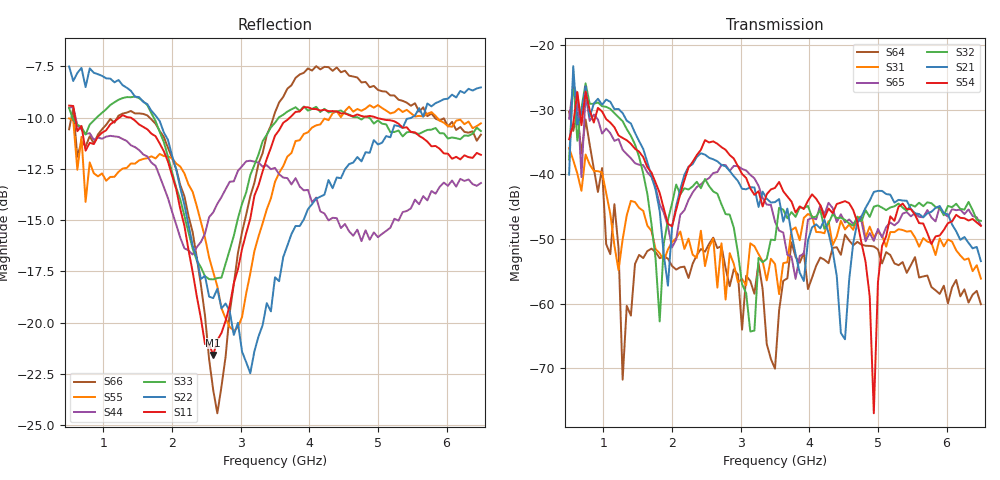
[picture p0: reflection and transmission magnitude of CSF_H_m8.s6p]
!Keysight Technologies,M9804A,MY58100912,A.14.10.03
!Date: Thursday, April 27, 2023 10:28:33
!Correction: S11(C  6-Port  )
!S12(C  6-Port  )
!S13(C  6-Port  )
!S14(C  6-Port  )
!S15(C  6-Port  )
!S16(C  6-Port  )
!S21(C  6-Port  )
!S22(C  6-Port  )
!S23(C  6-Port  )
!S24(C  6-Port  )
!S25(C  6-Port  )
!S26(C  6-Port  )
!S31(C  6-Port  )
!S32(C  6-Port  )
!S33(C  6-Port  )
!S34(C  6-Port  )
!S35(C  6-Port  )
!S36(C  6-Port  )
!S41(C  6-Port  )
!S42(C  6-Port  )
!S43(C  6-Port  )
!S44(C  6-Port  )
!S45(C  6-Port  )
!S46(C  6-Port  )
!S51(C  6-Port  )
!S52(C  6-Port  )
!S53(C  6-Port  )
!S54(C  6-Port  )
!S55(C  6-Port  )
!S56(C  6-Port  )
!S61(C  6-Port  )
!S62(C  6-Port  )
!S63(C  6-Port  )
!S64(C  6-Port  )
!S65(C  6-Port  )
!S66(C  6-Port  )
!S6P File: Measurement: :
# Hz S  RI  R 50
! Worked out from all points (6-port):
!   101 points, 500 MHz to 6.5 GHz, reference 50 ohm
!   strongest paths, dB at 500 MHz, 2 GHz, 3.5 GHz, 5 GHz, 6.5 GHz:
!     S54: -34.6, -48.0, -42.1, -56.7, -48.0
!     S21: -40.0, -48.1, -44.3, -42.5, -53.4
!     S32: -37.7, -44.5, -50.2, -44.8, -47.2
!     S65: -31.4, -51.3, -47.3, -48.4, -47.9
!     S31: -35.9, -50.5, -53.9, -48.9, -56.1
!     S64: -30.3, -54.2, -70.1, -51.6, -60.1
!   lowest |S11| = -21.6 dB at 2.6 GHz (marker M1), VSWR 1.18, Z = 42.6 + j2.05 ohm
!   |S11| at or under -10 dB: 587.7 MHz to 1.233 GHz (645.5 MHz wide, 70.9 % of centre); 1.4 GHz to 3.715 GHz (2.315 GHz wide, 90.5 % of centre); 4.973 GHz to end of sweep
